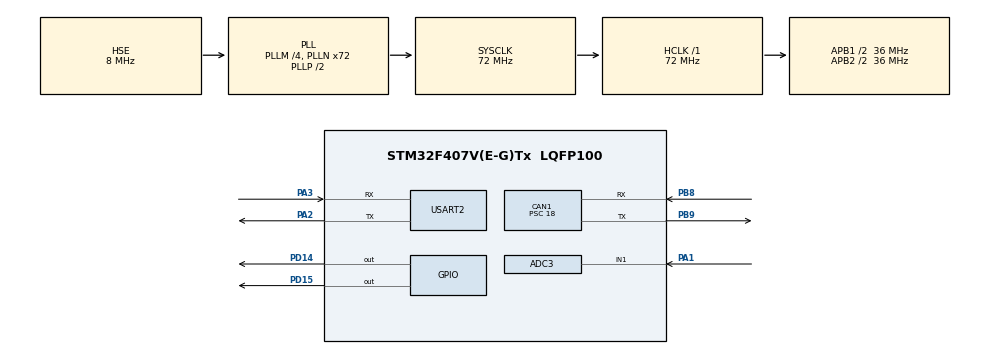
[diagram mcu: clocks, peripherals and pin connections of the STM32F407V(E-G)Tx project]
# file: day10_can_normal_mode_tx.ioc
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ADC3.Channel-1\#ChannelRegularConversion=ADC_CHANNEL_1
ADC3.NbrOfConversionFlag=1
ADC3.Rank-1\#ChannelRegularConversion=1
ADC3.SamplingTime-1\#ChannelRegularConversion=ADC_SAMPLETIME_3CYCLES
CAN1.BS1=CAN_BS1_2TQ
CAN1.CalculateBaudRate=500000
CAN1.CalculateTimeBit=2000
CAN1.CalculateTimeQuantum=500.0
CAN1.Mode=CAN_MODE_NORMAL
CAN1.Prescaler=18
Mcu.Family=STM32F4
Mcu.Name=STM32F407V(E-G)Tx
Mcu.Package=LQFP100
NVIC.PriorityGroup=NVIC_PRIORITYGROUP_0
PA1.Signal=ADCx_IN1
PA2.Mode=Asynchronous
PA2.Signal=USART2_TX
PA3.Mode=Asynchronous
PA3.Signal=USART2_RX
PB8.Mode=CAN_Activate
PB8.Signal=CAN1_RX
PB9.Mode=CAN_Activate
PB9.Signal=CAN1_TX
PD14.Signal=GPIO_Output
PD15.Signal=GPIO_Output
PH0-OSC_IN.Mode=HSE-External-Oscillator
PH0-OSC_IN.Signal=RCC_OSC_IN
PH1-OSC_OUT.Mode=HSE-External-Oscillator
PH1-OSC_OUT.Signal=RCC_OSC_OUT
ProjectManager.HeapSize=0x200
ProjectManager.StackSize=0x400
ProjectManager.TargetToolchain=STM32CubeIDE
RCC.48MHZClocksFreq_Value=20571428.57142857
RCC.AHBFreq_Value=72000000
RCC.APB1CLKDivider=RCC_HCLK_DIV2
RCC.APB1Freq_Value=36000000
RCC.APB1TimFreq_Value=72000000
RCC.APB2CLKDivider=RCC_HCLK_DIV2
RCC.APB2Freq_Value=36000000
RCC.APB2TimFreq_Value=72000000
RCC.CortexFreq_Value=72000000
RCC.HCLKFreq_Value=72000000
RCC.HSE_VALUE=8000000
RCC.HSI_VALUE=16000000
RCC.LSE_VALUE=32768
RCC.PLLM=4
RCC.PLLN=72
RCC.PLLQ=7
RCC.PLLSourceVirtual=RCC_PLLSOURCE_HSE
RCC.SYSCLKFreq_VALUE=72000000
RCC.SYSCLKSource=RCC_SYSCLKSOURCE_PLLCLK
RCC.VCOOutputFreq_Value=144000000
SH.ADCx_IN1.0=ADC3_IN1,IN1
USART2.VirtualMode=VM_ASYNC
board=STM32F407G-DISC1

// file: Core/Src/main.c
/* USER CODE BEGIN Header */
/**
  ******************************************************************************
  * @file           : main.c
  * @brief          : Main program body
  ******************************************************************************
  * @attention
  *
  * Copyright (c) 2024 STMicroelectronics.
  * All rights reserved.
  *
  * This software is licensed under terms that can be found in the LICENSE file
  * in the root directory of this software component.
  * If no LICENSE file comes with this software, it is provided AS-IS.
  *
  ******************************************************************************
  */
/* USER CODE END Header */
#include "main.h"

/* USER CODE BEGIN Includes */
#include <stdio.h>
#include <string.h>
#include <math.h>
/* USER CODE END Includes */

/* USER CODE BEGIN PD */
#define m -0.42106      // Calibration constant for Alcohol
#define b 0.1675       // Calibration constant for Alcohol
#define R0 2.705      // Pre-calibrated value of R0 in clean air

/* USER CODE END PD */

ADC_HandleTypeDef hadc3;

CAN_HandleTypeDef hcan1;

UART_HandleTypeDef huart2;

void SystemClock_Config(void);
static void MX_GPIO_Init(void);
static void MX_CAN1_Init(void);
static void MX_USART2_UART_Init(void);
static void MX_ADC3_Init(void);

/* USER CODE BEGIN 0 */
char uartDataBuffer[50];

uint8_t GetSensorValAndTransfer(ADC_HandleTypeDef *hADC, uint32_t StdId)
{
	uint32_t RawSensorVal = 0;
	char str[100];
	float alcoholval;
	float ratio=0;
	float concentration=0;
	float Rs=0;

	CAN_TxHeaderTypeDef SensorMsgTxHeader;
	SensorMsgTxHeader.DLC = 1;
	SensorMsgTxHeader.RTR = CAN_RTR_DATA;
	SensorMsgTxHeader.IDE = CAN_ID_STD;
	SensorMsgTxHeader.StdId = StdId;
	SensorMsgTxHeader.ExtId = 0x0000;
	SensorMsgTxHeader.TransmitGlobalTime = DISABLE;

	uint8_t SensorData[8] = {0,0,0,0,0,0,0,0};

	uint32_t TxMailBoxUsed;

	HAL_ADC_Start(hADC);
	if(HAL_ADC_PollForConversion(hADC, HAL_MAX_DELAY) == HAL_OK)
	{
		RawSensorVal = 0;
		RawSensorVal = HAL_ADC_GetValue(hADC);
		HAL_ADC_Stop(hADC);

		if(SensorMsgTxHeader.StdId == 0x0AD)
		{

			                   alcoholval = RawSensorVal * 0.0012207;
						        Rs = 1 * ((5 - alcoholval) / alcoholval);
								ratio = Rs / R0;
								concentration = (log(ratio)-b)/m;
								concentration = pow(10,concentration);
								sprintf(str, "Alcohol concentration = %f\r\n", concentration);
								HAL_UART_Transmit(&huart2, (const uint8_t*)str, strlen(str), HAL_MAX_DELAY);

			SensorData[0] = concentration;
			HAL_GPIO_TogglePin(GPIOD, GPIO_PIN_15);
		}

		// add sensor value in available CAN1 TxMailbox for transmission over CAN Bus
		if(HAL_CAN_AddTxMessage(&hcan1, &SensorMsgTxHeader, SensorData, &TxMailBoxUsed) != HAL_OK)
			Error_Handler();
		HAL_Delay(1000);
	}
	return HAL_OK;
}

/* USER CODE END 0 */

int main(void)
{

  /* MCU Configuration--------------------------------------------------------*/

  /* Reset of all peripherals, Initializes the Flash interface and the Systick. */
  HAL_Init();

  /* Configure the system clock */
  SystemClock_Config();

  /* Initialize all configured peripherals */
  MX_GPIO_Init();
  MX_CAN1_Init();
  MX_USART2_UART_Init();
  MX_ADC3_Init();
  /* USER CODE BEGIN 2 */
  HAL_CAN_Start(&hcan1);
  HAL_CAN_ActivateNotification(&hcan1, CAN_IT_TX_MAILBOX_EMPTY);

  /* USER CODE END 2 */

  /* Infinite loop */
  /* USER CODE BEGIN WHILE */
  while (1)
  {

	  // ADC3 IN1 Channel: MQ3 Alcohol sensor
	  if(GetSensorValAndTransfer(&hadc3, 0x0AD) != HAL_OK)
		  Error_Handler();

    /* USER CODE END WHILE */

  }
}

void SystemClock_Config(void)
{
  RCC_OscInitTypeDef RCC_OscInitStruct = {0};
  RCC_ClkInitTypeDef RCC_ClkInitStruct = {0};

  /** Configure the main internal regulator output voltage
  */
  __HAL_RCC_PWR_CLK_ENABLE();
  __HAL_PWR_VOLTAGESCALING_CONFIG(PWR_REGULATOR_VOLTAGE_SCALE1);

  /** Initializes the RCC Oscillators according to the specified parameters
  * in the RCC_OscInitTypeDef structure.
  */
  RCC_OscInitStruct.OscillatorType = RCC_OSCILLATORTYPE_HSE;
  RCC_OscInitStruct.HSEState = RCC_HSE_ON;
  RCC_OscInitStruct.PLL.PLLState = RCC_PLL_ON;
  RCC_OscInitStruct.PLL.PLLSource = RCC_PLLSOURCE_HSE;
  RCC_OscInitStruct.PLL.PLLM = 4;
  RCC_OscInitStruct.PLL.PLLN = 72;
  RCC_OscInitStruct.PLL.PLLP = RCC_PLLP_DIV2;
  RCC_OscInitStruct.PLL.PLLQ = 7;
  if (HAL_RCC_OscConfig(&RCC_OscInitStruct) != HAL_OK)
  {
    Error_Handler();
  }

  /** Initializes the CPU, AHB and APB buses clocks
  */
  RCC_ClkInitStruct.ClockType = RCC_CLOCKTYPE_HCLK|RCC_CLOCKTYPE_SYSCLK
                              |RCC_CLOCKTYPE_PCLK1|RCC_CLOCKTYPE_PCLK2;
  RCC_ClkInitStruct.SYSCLKSource = RCC_SYSCLKSOURCE_PLLCLK;
  RCC_ClkInitStruct.AHBCLKDivider = RCC_SYSCLK_DIV1;
  RCC_ClkInitStruct.APB1CLKDivider = RCC_HCLK_DIV2;
  RCC_ClkInitStruct.APB2CLKDivider = RCC_HCLK_DIV2;

  if (HAL_RCC_ClockConfig(&RCC_ClkInitStruct, FLASH_LATENCY_2) != HAL_OK)
  {
    Error_Handler();
  }
}

static void MX_ADC3_Init(void)
{

  ADC_ChannelConfTypeDef sConfig = {0};

  /** Configure the global features of the ADC (Clock, Resolution, Data Alignment and number of conversion)
  */
  hadc3.Instance = ADC3;
  hadc3.Init.ClockPrescaler = ADC_CLOCK_SYNC_PCLK_DIV2;
  hadc3.Init.Resolution = ADC_RESOLUTION_12B;
  hadc3.Init.ScanConvMode = DISABLE;
  hadc3.Init.ContinuousConvMode = DISABLE;
  hadc3.Init.DiscontinuousConvMode = DISABLE;
  hadc3.Init.ExternalTrigConvEdge = ADC_EXTERNALTRIGCONVEDGE_NONE;
  hadc3.Init.ExternalTrigConv = ADC_SOFTWARE_START;
  hadc3.Init.DataAlign = ADC_DATAALIGN_RIGHT;
  hadc3.Init.NbrOfConversion = 1;
  hadc3.Init.DMAContinuousRequests = DISABLE;
  hadc3.Init.EOCSelection = ADC_EOC_SINGLE_CONV;
  if (HAL_ADC_Init(&hadc3) != HAL_OK)
  {
    Error_Handler();
  }

  /** Configure for the selected ADC regular channel its corresponding rank in the sequencer and its sample time.
  */
  sConfig.Channel = ADC_CHANNEL_1;
  sConfig.Rank = 1;
  sConfig.SamplingTime = ADC_SAMPLETIME_3CYCLES;
  if (HAL_ADC_ConfigChannel(&hadc3, &sConfig) != HAL_OK)
  {
    Error_Handler();
  }

}

static void MX_CAN1_Init(void)
{

  hcan1.Instance = CAN1;
  hcan1.Init.Prescaler = 18;
  hcan1.Init.Mode = CAN_MODE_NORMAL;
  hcan1.Init.SyncJumpWidth = CAN_SJW_1TQ;
  hcan1.Init.TimeSeg1 = CAN_BS1_2TQ;
  hcan1.Init.TimeSeg2 = CAN_BS2_1TQ;
  hcan1.Init.TimeTriggeredMode = DISABLE;
  hcan1.Init.AutoBusOff = DISABLE;
  hcan1.Init.AutoWakeUp = DISABLE;
  hcan1.Init.AutoRetransmission = DISABLE;
  hcan1.Init.ReceiveFifoLocked = DISABLE;
  hcan1.Init.TransmitFifoPriority = DISABLE;
  if (HAL_CAN_Init(&hcan1) != HAL_OK)
  {
    Error_Handler();
  }

}

static void MX_USART2_UART_Init(void)
{

  huart2.Instance = USART2;
  huart2.Init.BaudRate = 115200;
  huart2.Init.WordLength = UART_WORDLENGTH_8B;
  huart2.Init.StopBits = UART_STOPBITS_1;
  huart2.Init.Parity = UART_PARITY_NONE;
  huart2.Init.Mode = UART_MODE_TX_RX;
  huart2.Init.HwFlowCtl = UART_HWCONTROL_NONE;
  huart2.Init.OverSampling = UART_OVERSAMPLING_16;
  if (HAL_UART_Init(&huart2) != HAL_OK)
  {
    Error_Handler();
  }

}

static void MX_GPIO_Init(void)
{
  GPIO_InitTypeDef GPIO_InitStruct = {0};

  /* GPIO Ports Clock Enable */
  __HAL_RCC_GPIOH_CLK_ENABLE();
  __HAL_RCC_GPIOA_CLK_ENABLE();
  __HAL_RCC_GPIOD_CLK_ENABLE();
  __HAL_RCC_GPIOB_CLK_ENABLE();

  /*Configure GPIO pin Output Level */
  HAL_GPIO_WritePin(GPIOD, GPIO_PIN_14|GPIO_PIN_15, GPIO_PIN_RESET);

  /*Configure GPIO pins : PD14 PD15 */
  GPIO_InitStruct.Pin = GPIO_PIN_14|GPIO_PIN_15;
  GPIO_InitStruct.Mode = GPIO_MODE_OUTPUT_PP;
  GPIO_InitStruct.Pull = GPIO_NOPULL;
  GPIO_InitStruct.Speed = GPIO_SPEED_FREQ_LOW;
  HAL_GPIO_Init(GPIOD, &GPIO_InitStruct);

}

void Error_Handler(void)
{
  /* USER CODE BEGIN Error_Handler_Debug */
  /* User can add his own implementation to report the HAL error return state */
  __disable_irq();
  while (1)
  {
	  HAL_GPIO_TogglePin(GPIOD, GPIO_PIN_14);
	  HAL_Delay(200);
  }
  /* USER CODE END Error_Handler_Debug */
}
